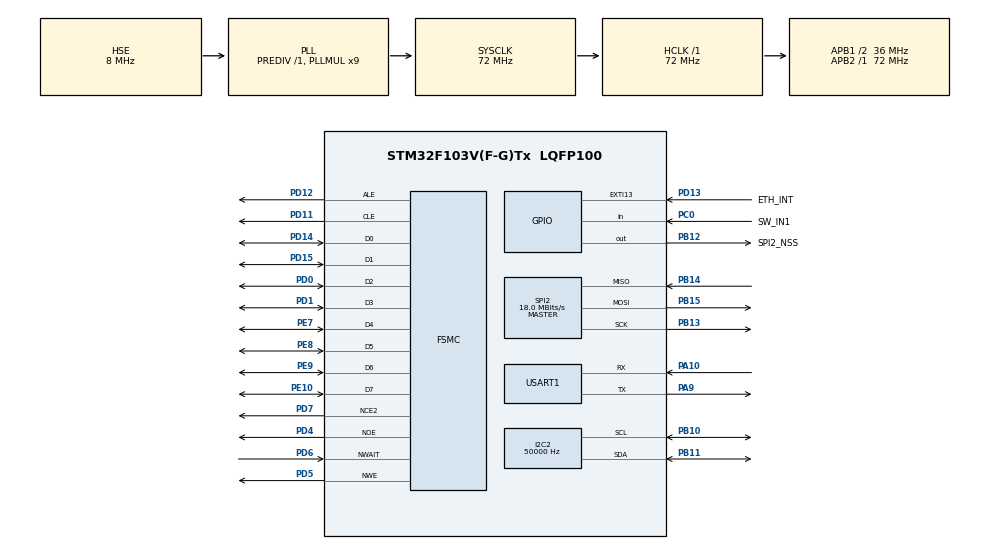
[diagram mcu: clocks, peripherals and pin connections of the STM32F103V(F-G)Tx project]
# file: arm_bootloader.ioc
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FATFS._CODE_PAGE=949
FATFS._FS_NOFSINFO=0
FATFS._FS_RPATH=2
FATFS._MAX_SS=2048
FATFS._MIN_SS=2048
FATFS._USE_FIND=1
FATFS._USE_FORWARD=1
FATFS._USE_LABEL=1
FATFS._USE_LFN=2
FATFS._USE_TRIM=1
FSMC.AttributeSpaceHiZSetupTime1=0
FSMC.AttributeSpaceHoldSetupTime1=2
FSMC.AttributeSpaceSetupTime1=0
FSMC.AttributeSpaceWaitSetupTime1=2
FSMC.CommonSpaceHiZSetupTime1=0
FSMC.CommonSpaceHoldSetupTime1=2
FSMC.CommonSpaceSetupTime1=0
FSMC.CommonSpaceWaitSetupTime1=2
FSMC.ECCPageSize1=FSMC_NAND_ECC_PAGE_SIZE_512BYTE
FSMC.NandBlockNbr1=1024
FSMC.NandBlockSize1=64
FSMC.NandPageSize1=2048
FSMC.NandPlaneNbr1=1
FSMC.NandPlaneSize1=1024
FSMC.NandSpareAreaSize1=64
I2C2.ClockSpeed=50000
Mcu.Family=STM32F1
Mcu.Name=STM32F103V(F-G)Tx
Mcu.Package=LQFP100
NVIC.PriorityGroup=NVIC_PRIORITYGROUP_4
OSC_IN.Mode=HSE-External-Oscillator
OSC_IN.Signal=RCC_OSC_IN
OSC_OUT.Mode=HSE-External-Oscillator
OSC_OUT.Signal=RCC_OSC_OUT
PA10.Mode=Asynchronous
PA10.Signal=USART1_RX
PA13.GPIO_Label=JT_DIO
PA13.Signal=SYS_JTMS-SWDIO
PA14.GPIO_Label=JT_CLK
PA14.Signal=SYS_JTCK-SWCLK
PA9.Mode=Asynchronous
PA9.Signal=USART1_TX
PB10.Mode=I2C
PB10.Signal=I2C2_SCL
PB11.Mode=I2C
PB11.Signal=I2C2_SDA
PB12.GPIO_Label=SPI2_NSS
PB12.Signal=GPIO_Output
PB13.Mode=Full_Duplex_Master
PB13.Signal=SPI2_SCK
PB14.Mode=Full_Duplex_Master
PB14.Signal=SPI2_MISO
PB15.Mode=Full_Duplex_Master
PB15.Signal=SPI2_MOSI
PC0.GPIO_Label=SW_IN1
PC0.GPIO_PuPd=GPIO_PULLUP
PC0.Signal=GPIO_Input
PC14-OSC32_IN.Mode=LSE-External-Oscillator
PC14-OSC32_IN.Signal=RCC_OSC32_IN
PC15-OSC32_OUT.Mode=LSE-External-Oscillator
PC15-OSC32_OUT.Signal=RCC_OSC32_OUT
PD0.Mode=8b-dmux1
PD0.Signal=FSMC_D2
PD1.Mode=8b-dmux1
PD1.Signal=FSMC_D3
PD11.Mode=8b-dmux1
PD11.Signal=FSMC_CLE
PD12.Mode=8b-dmux1
PD12.Signal=FSMC_ALE
PD13.GPIO_Label=ETH_INT
PD13.Signal=GPXTI13
PD14.Mode=8b-dmux1
PD14.Signal=FSMC_D0
PD15.Mode=8b-dmux1
PD15.Signal=FSMC_D1
PD4.Mode=8b-dmux1
PD4.Signal=FSMC_NOE
PD5.Mode=8b-dmux1
PD5.Signal=FSMC_NWE
PD6.Mode=Wait1
PD6.Signal=FSMC_NWAIT
PD7.Mode=NandChipSelect2_1
PD7.Signal=FSMC_NCE2
PE10.Mode=8b-dmux1
PE10.Signal=FSMC_D7
PE7.Mode=8b-dmux1
PE7.Signal=FSMC_D4
PE8.Mode=8b-dmux1
PE8.Signal=FSMC_D5
PE9.Mode=8b-dmux1
PE9.Signal=FSMC_D6
ProjectManager.HeapSize=0x200
ProjectManager.StackSize=0x400
ProjectManager.TargetToolchain=STM32CubeIDE
RCC.AHBFreq_Value=72000000
RCC.APB1CLKDivider=RCC_HCLK_DIV2
RCC.APB1Freq_Value=36000000
RCC.APB1TimFreq_Value=72000000
RCC.APB2Freq_Value=72000000
RCC.APB2TimFreq_Value=72000000
RCC.HCLKFreq_Value=72000000
RCC.PLLMUL=RCC_PLL_MUL9
RCC.PLLSourceVirtual=RCC_PLLSOURCE_HSE
RCC.SYSCLKFreq_VALUE=72000000
RCC.SYSCLKSource=RCC_SYSCLKSOURCE_PLLCLK
RCC.USBFreq_Value=72000000
SPI2.CalculateBaudRate=18.0 MBits/s
SPI2.Direction=SPI_DIRECTION_2LINES
SPI2.Mode=SPI_MODE_MASTER
SPI2.VirtualType=VM_MASTER
USART1.VirtualMode=VM_ASYNC
VP_FATFS_VS_Generic.Mode=User_defined
VP_SYS_VS_ND.Mode=No_Debug
board=custom

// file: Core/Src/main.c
/* USER CODE BEGIN Header */
/**
 ******************************************************************************
 * @file           : main.c
 * @brief          : Main program body
 ******************************************************************************
 * @attention
 *
 * <h2><center>&copy; Copyright (c) 2023 STMicroelectronics.
 * All rights reserved.</center></h2>
 *
 * This software component is licensed by ST under BSD 3-Clause license,
 * the "License"; You may not use this file except in compliance with the
 * License. You may obtain a copy of the License at:
 *                        opensource.org/licenses/BSD-3-Clause
 *
 ******************************************************************************
 */
/* USER CODE END Header */
#include "main.h"
#include "fatfs.h"

/* USER CODE BEGIN Includes */
#include <stdio.h>
#include "bsp.h"
#include "24AA02E48.h"
#include "w5500_init.h"
#include "ftpc.h"
#include "flash_if.h"
#include "common.h"
#include "nandFlash.h"
/* STM32F103Vx
 * Flash memory: 768KB(1MB)
 */

/* USER CODE END Includes */

I2C_HandleTypeDef hi2c2;

SPI_HandleTypeDef hspi2;

UART_HandleTypeDef huart1;

NAND_HandleTypeDef hnand1;

void SystemClock_Config(void);
static void MX_GPIO_Init(void);
static void MX_SPI2_Init(void);
static void MX_USART1_UART_Init(void);
static void MX_I2C2_Init(void);
static void MX_FSMC_Init(void);

int main(void)
{
    /* USER CODE BEGIN 1 */
    GPIO_PinState state;
    int32_t funcSts = 0;
    uint8_t macAddr[MAC_ADDR_LEN] = {0,};
    uint8_t ipAddr[4] = {192, 168, 0, 100};
    /* USER CODE END 1 */

    /* MCU Configuration--------------------------------------------------------*/

    /* Reset of all peripherals, Initializes the Flash interface and the Systick. */
    HAL_Init();

    /* Configure the system clock */
    SystemClock_Config();

    /* Initialize all configured peripherals */
    MX_GPIO_Init();
    MX_SPI2_Init();
    MX_USART1_UART_Init();
    MX_I2C2_Init();
    MX_FSMC_Init();
    MX_FATFS_Init();
    /* USER CODE BEGIN 2 */
    W5500_Init();
    funcSts = Get_MacAddress(macAddr);
    if (funcSts == 0) {
        W5500_NetConf((int8_t *)macAddr, W5500_IP_ADDRESS, W5500_SUB_NET_MASK, W5500_GATE_WAY);
        W5500_DisplayNetConf();
    }
    /* GPIOC GPIO_PIN0 */
    state = SWITCH_GetStatus();
    if (state != GPIO_PIN_SET) {
        printf("> Start Firmware download mode\r\n");
        ftpc_init(ipAddr);
    }
    else {
        printf("> Start Application\r\n");
        JumpToApplication();
    }

    /* USER CODE END 2 */

    /* Infinite loop */
    /* USER CODE BEGIN WHILE */
    while (1) {
        FtpDownloadApplication();
        HAL_Delay(1);
        /* USER CODE END WHILE */

    }
}

void SystemClock_Config(void)
{
    RCC_OscInitTypeDef RCC_OscInitStruct = {0};
    RCC_ClkInitTypeDef RCC_ClkInitStruct = {0};

    /** Initializes the RCC Oscillators according to the specified parameters
     * in the RCC_OscInitTypeDef structure.
     */
    RCC_OscInitStruct.OscillatorType = RCC_OSCILLATORTYPE_HSE;
    RCC_OscInitStruct.HSEState = RCC_HSE_ON;
    RCC_OscInitStruct.HSEPredivValue = RCC_HSE_PREDIV_DIV1;
    RCC_OscInitStruct.HSIState = RCC_HSI_ON;
    RCC_OscInitStruct.PLL.PLLState = RCC_PLL_ON;
    RCC_OscInitStruct.PLL.PLLSource = RCC_PLLSOURCE_HSE;
    RCC_OscInitStruct.PLL.PLLMUL = RCC_PLL_MUL9;
    if (HAL_RCC_OscConfig(&RCC_OscInitStruct) != HAL_OK)
    {
        Error_Handler();
    }
    /** Initializes the CPU, AHB and APB buses clocks
     */
    RCC_ClkInitStruct.ClockType = RCC_CLOCKTYPE_HCLK | RCC_CLOCKTYPE_SYSCLK | RCC_CLOCKTYPE_PCLK1 | RCC_CLOCKTYPE_PCLK2;
    RCC_ClkInitStruct.SYSCLKSource = RCC_SYSCLKSOURCE_PLLCLK;
    RCC_ClkInitStruct.AHBCLKDivider = RCC_SYSCLK_DIV1;
    RCC_ClkInitStruct.APB1CLKDivider = RCC_HCLK_DIV2;
    RCC_ClkInitStruct.APB2CLKDivider = RCC_HCLK_DIV1;

    if (HAL_RCC_ClockConfig(&RCC_ClkInitStruct, FLASH_LATENCY_2) != HAL_OK)
    {
        Error_Handler();
    }
}

static void MX_I2C2_Init(void)
{

    hi2c2.Instance = I2C2;
    hi2c2.Init.ClockSpeed = 50000;
    hi2c2.Init.DutyCycle = I2C_DUTYCYCLE_2;
    hi2c2.Init.OwnAddress1 = 0;
    hi2c2.Init.AddressingMode = I2C_ADDRESSINGMODE_7BIT;
    hi2c2.Init.DualAddressMode = I2C_DUALADDRESS_DISABLE;
    hi2c2.Init.OwnAddress2 = 0;
    hi2c2.Init.GeneralCallMode = I2C_GENERALCALL_DISABLE;
    hi2c2.Init.NoStretchMode = I2C_NOSTRETCH_DISABLE;
    if (HAL_I2C_Init(&hi2c2) != HAL_OK)
    {
        Error_Handler();
    }
}

static void MX_SPI2_Init(void)
{

    /* SPI2 parameter configuration*/
    hspi2.Instance = SPI2;
    hspi2.Init.Mode = SPI_MODE_MASTER;
    hspi2.Init.Direction = SPI_DIRECTION_2LINES;
    hspi2.Init.DataSize = SPI_DATASIZE_8BIT;
    hspi2.Init.CLKPolarity = SPI_POLARITY_LOW;
    hspi2.Init.CLKPhase = SPI_PHASE_1EDGE;
    hspi2.Init.NSS = SPI_NSS_SOFT;
    hspi2.Init.BaudRatePrescaler = SPI_BAUDRATEPRESCALER_2;
    hspi2.Init.FirstBit = SPI_FIRSTBIT_MSB;
    hspi2.Init.TIMode = SPI_TIMODE_DISABLE;
    hspi2.Init.CRCCalculation = SPI_CRCCALCULATION_DISABLE;
    hspi2.Init.CRCPolynomial = 10;
    if (HAL_SPI_Init(&hspi2) != HAL_OK)
    {
        Error_Handler();
    }
}

static void MX_USART1_UART_Init(void)
{

    huart1.Instance = USART1;
    huart1.Init.BaudRate = 115200;
    huart1.Init.WordLength = UART_WORDLENGTH_8B;
    huart1.Init.StopBits = UART_STOPBITS_1;
    huart1.Init.Parity = UART_PARITY_NONE;
    huart1.Init.Mode = UART_MODE_TX_RX;
    huart1.Init.HwFlowCtl = UART_HWCONTROL_NONE;
    huart1.Init.OverSampling = UART_OVERSAMPLING_16;
    if (HAL_UART_Init(&huart1) != HAL_OK)
    {
        Error_Handler();
    }
}

static void MX_GPIO_Init(void)
{
    GPIO_InitTypeDef GPIO_InitStruct = {0};

    /* GPIO Ports Clock Enable */
    __HAL_RCC_GPIOC_CLK_ENABLE();
    __HAL_RCC_GPIOE_CLK_ENABLE();
    __HAL_RCC_GPIOB_CLK_ENABLE();
    __HAL_RCC_GPIOD_CLK_ENABLE();
    __HAL_RCC_GPIOA_CLK_ENABLE();

    /*Configure GPIO pin Output Level */
    HAL_GPIO_WritePin(SPI2_NSS_GPIO_Port, SPI2_NSS_Pin, GPIO_PIN_RESET);

    /*Configure GPIO pin : SW_IN1_Pin */
    GPIO_InitStruct.Pin = SW_IN1_Pin;
    GPIO_InitStruct.Mode = GPIO_MODE_INPUT;
    GPIO_InitStruct.Pull = GPIO_PULLUP;
    HAL_GPIO_Init(SW_IN1_GPIO_Port, &GPIO_InitStruct);

    /*Configure GPIO pin : SPI2_NSS_Pin */
    GPIO_InitStruct.Pin = SPI2_NSS_Pin;
    GPIO_InitStruct.Mode = GPIO_MODE_OUTPUT_PP;
    GPIO_InitStruct.Pull = GPIO_NOPULL;
    GPIO_InitStruct.Speed = GPIO_SPEED_FREQ_LOW;
    HAL_GPIO_Init(SPI2_NSS_GPIO_Port, &GPIO_InitStruct);

    /*Configure GPIO pin : ETH_INT_Pin */
    GPIO_InitStruct.Pin = ETH_INT_Pin;
    GPIO_InitStruct.Mode = GPIO_MODE_IT_RISING;
    GPIO_InitStruct.Pull = GPIO_NOPULL;
    HAL_GPIO_Init(ETH_INT_GPIO_Port, &GPIO_InitStruct);
}

/* FSMC initialization function */
static void MX_FSMC_Init(void)
{

    FSMC_NAND_PCC_TimingTypeDef ComSpaceTiming = {0};
    FSMC_NAND_PCC_TimingTypeDef AttSpaceTiming = {0};

    /** Perform the NAND1 memory initialization sequence
     */
    hnand1.Instance = FSMC_NAND_DEVICE;
    /* hnand1.Init */
    hnand1.Init.NandBank = FSMC_NAND_BANK2;
    hnand1.Init.Waitfeature = FSMC_NAND_PCC_WAIT_FEATURE_ENABLE;
    hnand1.Init.MemoryDataWidth = FSMC_NAND_PCC_MEM_BUS_WIDTH_8;
    hnand1.Init.EccComputation = FSMC_NAND_ECC_DISABLE;
    hnand1.Init.ECCPageSize = FSMC_NAND_ECC_PAGE_SIZE_512BYTE;
    hnand1.Init.TCLRSetupTime = 0;
    hnand1.Init.TARSetupTime = 0;
    /* hnand1.Config */
    hnand1.Config.PageSize = 2048;
    hnand1.Config.SpareAreaSize = 64;
    hnand1.Config.BlockSize = 64;
    hnand1.Config.BlockNbr = 1024;
    hnand1.Config.PlaneNbr = 1;
    hnand1.Config.PlaneSize = 1024;
    hnand1.Config.ExtraCommandEnable = DISABLE;
    /* ComSpaceTiming */
    ComSpaceTiming.SetupTime = 0;
    ComSpaceTiming.WaitSetupTime = 2;
    ComSpaceTiming.HoldSetupTime = 2;
    ComSpaceTiming.HiZSetupTime = 0;
    /* AttSpaceTiming */
    AttSpaceTiming.SetupTime = 0;
    AttSpaceTiming.WaitSetupTime = 2;
    AttSpaceTiming.HoldSetupTime = 2;
    AttSpaceTiming.HiZSetupTime = 0;

    if (HAL_NAND_Init(&hnand1, &ComSpaceTiming, &AttSpaceTiming) != HAL_OK)
    {
        Error_Handler();
    }

    /** Disconnect NADV
     */

    __HAL_AFIO_FSMCNADV_DISCONNECTED();

}

/* USER CODE BEGIN 4 */
#ifdef __GNUC__
#define PUTCHAR_PROTOTYPE int __io_putchar(int ch)
#else
#define PUTCHAR_PROTOTYPE int fputc(int ch, FILE *f)
#endif /* __GNUC__ */
PUTCHAR_PROTOTYPE
{
    HAL_UART_Transmit(&huart1, (uint8_t *)&ch, 1, 0xFFFF);
    return ch;
}
/* USER CODE END 4 */

void Error_Handler(void)
{
    __disable_irq();
    while (1)
    {
    }
}

/************************ (C) COPYRIGHT STMicroelectronics *****END OF FILE****/
